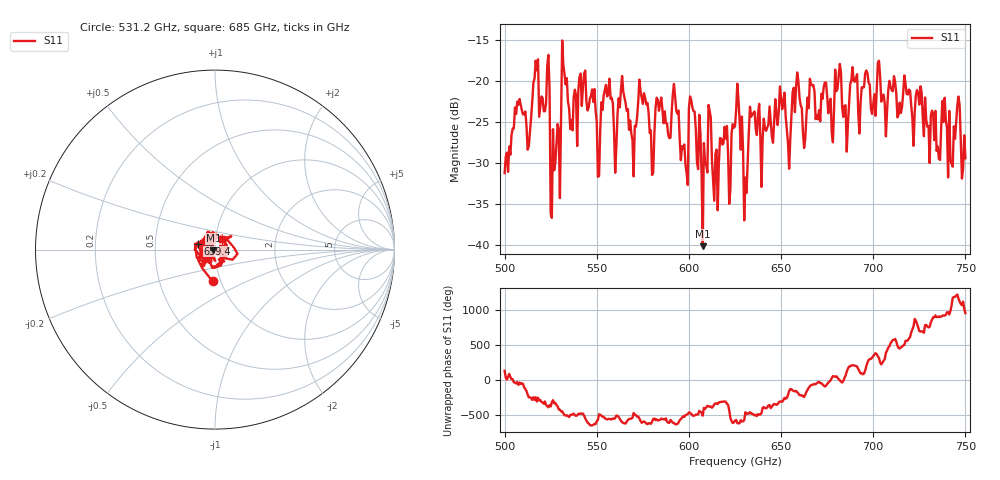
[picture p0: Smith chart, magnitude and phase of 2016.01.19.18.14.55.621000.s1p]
!Created with skrf (http://scikit-rf.org).
# GHz S RI R 50.0
!freq ReS11 ImS11
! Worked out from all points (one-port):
!   401 points, 500 GHz to 750 GHz, reference 50 ohm
!   lowest |S11| = -40.2 dB at 607.5 GHz (marker M1), VSWR 1.02, Z = 49.1 - j0.373 ohm
!   |S11| at or under -10 dB: start of sweep to end of sweep
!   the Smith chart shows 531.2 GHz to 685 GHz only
!   S11 on the Smith chart (normalised r, x): 531.2 GHz: 0.91, -0.33; 659.4 GHz: 0.82, +0.05; 685 GHz: 1.07, +0.13
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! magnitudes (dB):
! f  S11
! 500 GHz  -31.2
! 506.9 GHz  -22.5
! 513.1 GHz  -27.9
! 516.9 GHz  -17.5
! 523.1 GHz  -18.1
! 526.2 GHz  -25.9
! 531.2 GHz  -15.0
! 542.5 GHz  -20.7
! 550.6 GHz  -31.7
! 562.5 GHz  -23.2
! 570 GHz  -31.6
! 574.4 GHz  -22.0
! 580 GHz  -31.5
! 593.8 GHz  -24.0
! 598.1 GHz  -30.2
! 601.9 GHz  -23.2
! 607.5 GHz  -40.2
! 622.5 GHz  -33.2
! 625 GHz  -25.5
! 630.6 GHz  -31.8
! 634.4 GHz  -24.0
! 656.2 GHz  -21.4
! 659.4 GHz  -19.9
! 681.2 GHz  -19.4
! 685 GHz  -23.0
! 687.5 GHz  -20.3
! 718.8 GHz  -21.6
! 750 GHz  -29.4
